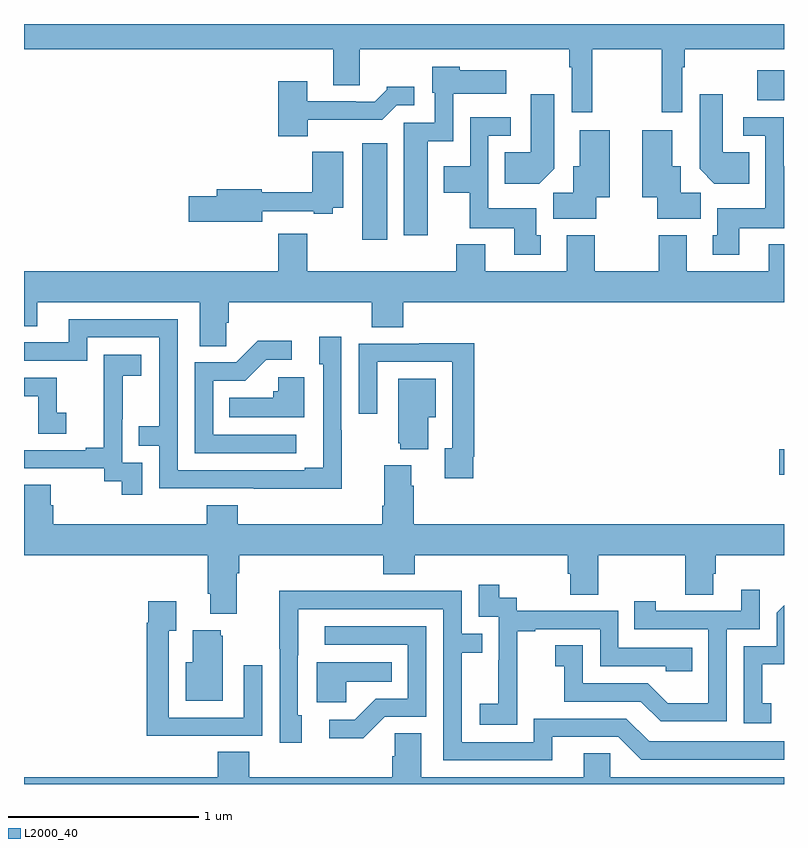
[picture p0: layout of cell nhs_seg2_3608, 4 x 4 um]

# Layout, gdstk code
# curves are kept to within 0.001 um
import gdstk
lib = gdstk.Library(unit=1e-6, precision=1e-09)
def R(c, l, rs):  # rectangles x0, y0, x1, y1
    for r in rs: c.add(gdstk.rectangle(r[:2], r[2:], *l))
def P(c, l, *ps):  # polygons
    for p in ps: c.add(gdstk.Polygon(p, *l))
L2000_40 = (2000, 40)

nhs_seg2_3608 = lib.new_cell('nhs_seg2_3608')
R(nhs_seg2_3608, L2000_40, [(304.974,613.427,305,613.562), (302.78,614.664,302.911,615.172), (304.86,615.398,305,615.556)])
P(nhs_seg2_3608, L2000_40, [(303.991,615.668),(304.356,615.668),(304.356,615.336),(304.464,615.336),(304.464,615.572),(304.477,615.572),(304.477,615.668),(305,615.668),(305,615.8),(301,615.8),(301,615.668),(302.627,615.668),(302.627,615.478),(302.767,615.478),(302.767,615.668),(303.87,615.668),(303.87,615.572),(303.882,615.572),(303.882,615.336),(303.991,615.336)],
  [(303.124,615.182),(303.258,615.182),(303.258,615.434),(303.538,615.434),(303.538,615.556),(303.294,615.556),(303.294,615.574),(303.149,615.574),(303.149,615.438),(303.162,615.438),(303.162,615.279),(302.999,615.279),(302.999,614.688),(303.124,614.688)],
  [(302.494,615.296),(302.885,615.296),(302.961,615.372),(303.055,615.372),(303.055,615.469),(302.91,615.469),(302.91,615.454),(302.846,615.39),(302.747,615.39),(302.747,615.393),(302.491,615.393),(302.491,615.499),(302.339,615.499),(302.339,615.209),(302.494,615.209)],
  [(304.817,615.124),(304.678,615.124),(304.678,615.43),(304.556,615.43),(304.556,615.038),(304.634,614.96),(304.817,614.96)],
  [(303.79,615.038),(303.79,615.43),(303.668,615.43),(303.668,615.124),(303.529,615.124),(303.529,614.96),(303.712,614.96)],
  [(304.765,614.726),(305,614.726),(305,615.052),(304.998,615.052),(304.998,615.309),(304.785,615.309),(304.785,615.213),(304.902,615.213),(304.902,614.83),(304.649,614.83),(304.649,614.688),(304.625,614.688),(304.625,614.586),(304.765,614.586)],
  [(303.721,614.688),(303.697,614.688),(303.697,614.83),(303.444,614.83),(303.444,615.213),(303.562,615.213),(303.562,615.309),(303.348,615.309),(303.348,615.052),(303.209,615.052),(303.209,614.912),(303.346,614.912),(303.346,614.726),(303.581,614.726),(303.581,614.586),(303.721,614.586)],
  [(304.561,614.912),(304.456,614.912),(304.456,615.052),(304.411,615.052),(304.411,615.241),(304.253,615.241),(304.253,614.888),(304.334,614.888),(304.334,614.774),(304.561,614.774)],
  [(304.012,614.888),(304.084,614.888),(304.084,615.241),(303.926,615.241),(303.926,615.052),(303.89,615.052),(303.89,614.912),(303.785,614.912),(303.785,614.774),(304.012,614.774)],
  [(302.254,614.814),(302.525,614.814),(302.525,614.802),(302.625,614.802),(302.625,614.834),(302.68,614.834),(302.68,615.127),(302.518,615.127),(302.518,614.915),(302.25,614.915),(302.25,614.93),(302.015,614.93),(302.015,614.894),(301.866,614.894),(301.866,614.759),(302.254,614.759)],
  [(302.064,614.227),(302.078,614.227),(302.078,614.336),(302.831,614.336),(302.831,614.203),(302.996,614.203),(302.996,614.336),(305,614.336),(305,614.641),(304.919,614.641),(304.919,614.5),(304.489,614.5),(304.489,614.689),(304.342,614.689),(304.342,614.5),(304.005,614.5),(304.005,614.689),(303.857,614.689),(303.857,614.5),(303.427,614.5),(303.427,614.641),(303.275,614.641),(303.275,614.5),(302.491,614.5),(302.491,614.695),(302.339,614.695),(302.339,614.5),(301,614.5),(301,614.209),(301.069,614.209),(301.069,614.336),(301.925,614.336),(301.925,614.104),(302.064,614.104)],
  [(302.673,613.661),(302.67,613.661),(302.67,614.155),(302.555,614.155),(302.555,614.01),(302.574,614.01),(302.574,613.465),(302.477,613.465),(302.477,613.452),(301.809,613.452),(301.809,614.247),(301.235,614.247),(301.235,614.124),(301,614.124),(301,614.028),(301.332,614.028),(301.332,614.151),(301.713,614.151),(301.713,613.682),(301.603,613.682),(301.603,613.581),(301.713,613.581),(301.713,613.356),(302.209,613.356),(302.209,613.355),(302.673,613.355)],
  [(302.434,613.638),(301.995,613.638),(301.995,613.923),(302.164,613.923),(302.275,614.034),(302.41,614.034),(302.41,614.132),(302.231,614.132),(302.118,614.019),(301.899,614.019),(301.899,613.542),(302.434,613.542)],
  [(303.364,613.522),(303.371,613.522),(303.371,614.12),(303.079,614.12),(303.079,614.118),(302.763,614.118),(302.763,613.749),(302.859,613.749),(302.859,614.022),(303.255,614.022),(303.255,613.566),(303.215,613.566),(303.215,613.41),(303.364,613.41)],
  [(301.623,613.491),(301.518,613.491),(301.518,613.721),(301.52,613.721),(301.52,613.949),(301.618,613.949),(301.618,614.059),(301.42,614.059),(301.42,613.853),(301.421,613.853),(301.421,613.57),(301.325,613.57),(301.325,613.557),(301,613.557),(301,613.461),(301.422,613.461),(301.422,613.393),(301.515,613.393),(301.515,613.323),(301.623,613.323)],
  [(302.476,613.942),(302.337,613.942),(302.337,613.866),(302.311,613.866),(302.311,613.834),(302.08,613.834),(302.08,613.73),(302.476,613.73)],
  [(301.222,613.753),(301.173,613.753),(301.173,613.938),(301,613.938),(301,613.842),(301.074,613.842),(301.074,613.644),(301.222,613.644)],
  [(303.127,613.73),(303.166,613.73),(303.166,613.933),(302.969,613.933),(302.969,613.593),(302.981,613.593),(302.981,613.562),(303.127,613.562)],
  [(303.037,613.37),(303.037,613.477),(302.897,613.477),(302.897,613.264),(302.885,613.264),(302.885,613.168),(302.126,613.168),(302.126,613.267),(301.961,613.267),(301.961,613.168),(301.154,613.168),(301.154,613.266),(301.141,613.266),(301.141,613.376),(301,613.376),(301,613.004),(301.967,613.004),(301.967,612.802),(301.979,612.802),(301.979,612.695),(302.119,612.695),(302.119,612.908),(302.132,612.908),(302.132,613.004),(302.891,613.004),(302.891,612.905),(303.056,612.905),(303.056,613.004),(303.863,613.004),(303.863,612.906),(303.875,612.906),(303.875,612.796),(304.023,612.796),(304.023,613.004),(304.48,613.004),(304.48,612.796),(304.627,612.796),(304.627,612.906),(304.64,612.906),(304.64,613.004),(305,613.004),(305,613.168),(303.05,613.168),(303.05,613.37)],
  [(303.597,612.319),(303.596,612.319),(303.596,612.603),(303.691,612.603),(303.691,612.615),(304.032,612.615),(304.032,612.42),(304.377,612.42),(304.377,612.393),(304.517,612.393),(304.517,612.516),(304.128,612.516),(304.128,612.711),(303.594,612.711),(303.594,612.78),(303.502,612.78),(303.502,612.85),(303.393,612.85),(303.393,612.681),(303.498,612.681),(303.498,612.452),(303.497,612.452),(303.497,612.223),(303.399,612.223),(303.399,612.113),(303.597,612.113)],
  [(304.698,612.615),(304.872,612.615),(304.872,612.823),(304.775,612.823),(304.775,612.711),(304.324,612.711),(304.324,612.763),(304.213,612.763),(304.213,612.615),(304.602,612.615),(304.602,612.226),(304.388,612.226),(304.284,612.33),(303.942,612.33),(303.942,612.529),(303.795,612.529),(303.795,612.419),(303.844,612.419),(303.844,612.234),(304.247,612.234),(304.352,612.129),(304.698,612.129)],
  [(303.781,612.048),(304.128,612.048),(304.248,611.928),(305,611.928),(305,612.024),(304.29,612.024),(304.17,612.144),(303.684,612.144),(303.684,612.021),(303.303,612.021),(303.303,612.49),(303.413,612.49),(303.413,612.591),(303.303,612.591),(303.303,612.816),(302.807,612.816),(302.807,612.818),(302.344,612.818),(302.344,612.511),(302.346,612.511),(302.346,612.018),(302.461,612.018),(302.461,612.162),(302.442,612.162),(302.443,612.72),(303.207,612.72),(303.207,611.925),(303.781,611.925)],
  [(301.937,612.054),(302.253,612.054),(302.253,612.424),(302.157,612.424),(302.157,612.15),(301.761,612.15),(301.761,612.607),(301.801,612.607),(301.801,612.763),(301.653,612.763),(301.653,612.65),(301.645,612.65),(301.645,612.053),(301.937,612.053)],
  [(304.934,612.225),(304.885,612.225),(304.885,612.429),(305,612.429),(305,612.74),(304.962,612.702),(304.962,612.525),(304.788,612.525),(304.788,612.12),(304.934,612.12)],
  [(302.898,612.153),(303.117,612.153),(303.117,612.63),(302.583,612.63),(302.583,612.534),(303.021,612.534),(303.021,612.249),(302.852,612.249),(302.741,612.138),(302.607,612.138),(302.607,612.041),(302.785,612.041)],
  [(302.047,612.579),(302.036,612.579),(302.036,612.61),(301.889,612.61),(301.889,612.442),(301.85,612.442),(301.85,612.239),(302.047,612.239)],
  [(302.697,612.338),(302.936,612.338),(302.936,612.442),(302.54,612.442),(302.54,612.23),(302.697,612.23)],
  [(305,611.836),(304.086,611.836),(304.086,611.963),(303.947,611.963),(303.947,611.836),(303.091,611.836),(303.091,612.068),(302.952,612.068),(302.952,611.945),(302.939,611.945),(302.939,611.836),(302.186,611.836),(302.186,611.969),(302.021,611.969),(302.021,611.836),(301,611.836),(301,611.8),(305,611.8)])

lib.write_gds('nhs_seg2_3608.gds')
